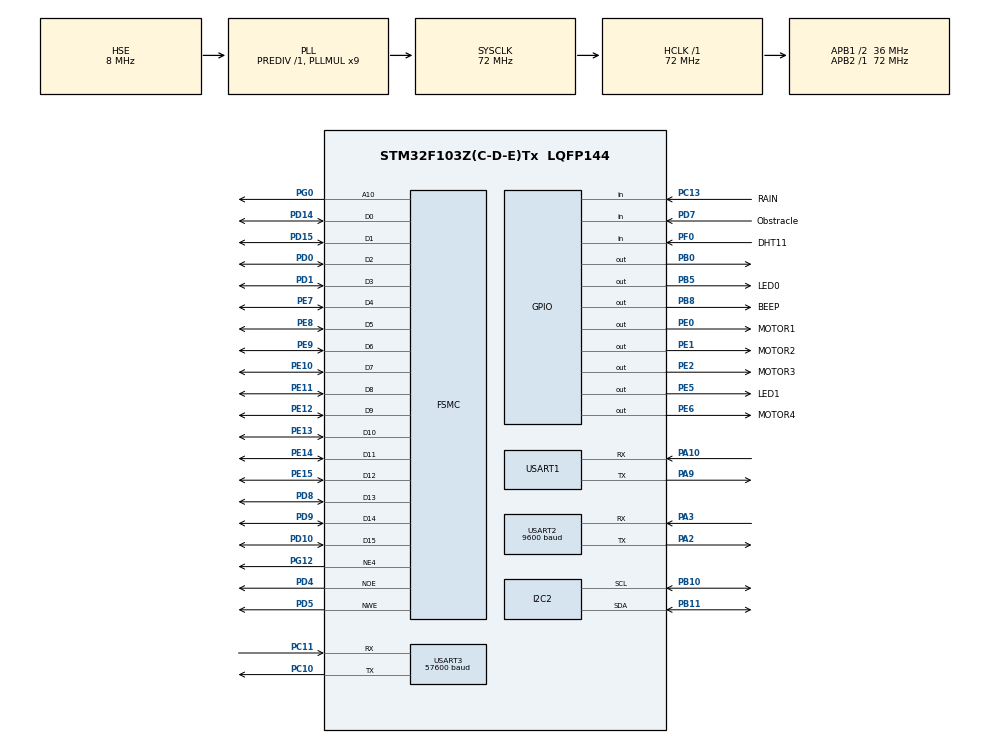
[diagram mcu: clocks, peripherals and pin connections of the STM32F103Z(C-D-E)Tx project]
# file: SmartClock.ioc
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FSMC.AddressSetupTime1=5
FSMC.BusTurnAroundDuration1=5
FSMC.DataSetupTime1=10
FSMC.ExtendedAddressSetupTime1=5
FSMC.ExtendedBusTurnAroundDuration1=5
FSMC.ExtendedDataSetupTime1=10
FSMC.ExtendedMode1=FSMC_EXTENDED_MODE_ENABLE
Mcu.Family=STM32F1
Mcu.Name=STM32F103Z(C-D-E)Tx
Mcu.Package=LQFP144
NVIC.PriorityGroup=NVIC_PRIORITYGROUP_4
NVIC.RTC_IRQn=true\:0\:0\:false\:false\:true\:true\:true\:true
NVIC.TIM2_IRQn=true\:0\:0\:false\:false\:true\:true\:true\:true
NVIC.USART1_IRQn=true\:0\:0\:false\:false\:true\:true\:true\:true
NVIC.USART2_IRQn=true\:0\:0\:false\:false\:true\:true\:true\:true
NVIC.USART3_IRQn=true\:0\:0\:false\:false\:true\:true\:true\:true
OSC_IN.Mode=HSE-External-Oscillator
OSC_IN.Signal=RCC_OSC_IN
OSC_OUT.Mode=HSE-External-Oscillator
OSC_OUT.Signal=RCC_OSC_OUT
PA10.Mode=Asynchronous
PA10.Signal=USART1_RX
PA13.Mode=Serial_Wire
PA13.Signal=SYS_JTMS-SWDIO
PA14.Mode=Serial_Wire
PA14.Signal=SYS_JTCK-SWCLK
PA2.Mode=Asynchronous
PA2.Signal=USART2_TX
PA3.Mode=Asynchronous
PA3.Signal=USART2_RX
PA9.Mode=Asynchronous
PA9.Signal=USART1_TX
PB0.GPIO_PuPd=GPIO_PULLUP
PB0.Signal=GPIO_Output
PB10.Mode=I2C
PB10.Signal=I2C2_SCL
PB11.Mode=I2C
PB11.Signal=I2C2_SDA
PB5.GPIO_Label=LED0
PB5.Signal=GPIO_Output
PB8.GPIO_Label=BEEP
PB8.Signal=GPIO_Output
PC10.Mode=Asynchronous
PC10.Signal=USART3_TX
PC11.Mode=Asynchronous
PC11.Signal=USART3_RX
PC13-TAMPER-RTC.GPIO_Label=RAIN
PC13-TAMPER-RTC.Signal=GPIO_Input
PC14-OSC32_IN.Mode=LSE-External-Oscillator
PC14-OSC32_IN.Signal=RCC_OSC32_IN
PC15-OSC32_OUT.Mode=LSE-External-Oscillator
PC15-OSC32_OUT.Signal=RCC_OSC32_OUT
PD0.Signal=FSMC_D2_DA2
PD1.Signal=FSMC_D3_DA3
PD10.Signal=FSMC_D15_DA15
PD14.Signal=FSMC_D0_DA0
PD15.Signal=FSMC_D1_DA1
PD4.Signal=FSMC_NOE
PD5.Signal=FSMC_NWE
PD7.GPIO_Label=Obstracle
PD7.Signal=GPIO_Input
PD8.Signal=FSMC_D13_DA13
PD9.Signal=FSMC_D14_DA14
PE0.GPIO_Label=MOTOR1
PE0.Signal=GPIO_Output
PE1.GPIO_Label=MOTOR2
PE1.Signal=GPIO_Output
PE10.Signal=FSMC_D7_DA7
PE11.Signal=FSMC_D8_DA8
PE12.Signal=FSMC_D9_DA9
PE13.Signal=FSMC_D10_DA10
PE14.Signal=FSMC_D11_DA11
PE15.Signal=FSMC_D12_DA12
PE2.GPIO_Label=MOTOR3
PE2.Signal=GPIO_Output
PE5.GPIO_Label=LED1
PE5.Signal=GPIO_Output
PE6.GPIO_Label=MOTOR4
PE6.Signal=GPIO_Output
PE7.Signal=FSMC_D4_DA4
PE8.Signal=FSMC_D5_DA5
PE9.Signal=FSMC_D6_DA6
PF0.GPIO_Label=DHT11
PF0.Signal=GPIO_Input
PG0.Signal=FSMC_A10
PG12.Mode=NorPsramChipSelect4_1
PG12.Signal=FSMC_NE4
ProjectManager.HeapSize=0x200
ProjectManager.StackSize=0x400
ProjectManager.TargetToolchain=MDK-ARM V5.32
RCC.AHBFreq_Value=72000000
RCC.APB1CLKDivider=RCC_HCLK_DIV2
RCC.APB1Freq_Value=36000000
RCC.APB1TimFreq_Value=72000000
RCC.APB2Freq_Value=72000000
RCC.APB2TimFreq_Value=72000000
RCC.HCLKFreq_Value=72000000
RCC.PLLMUL=RCC_PLL_MUL9
RCC.PLLSourceVirtual=RCC_PLLSOURCE_HSE
RCC.SYSCLKFreq_VALUE=72000000
RCC.SYSCLKSource=RCC_SYSCLKSOURCE_PLLCLK
RCC.USBFreq_Value=72000000
RTC.Date=13
RTC.Format=RTC_FORMAT_BIN
RTC.Month=RTC_MONTH_OCTOBER
RTC.WeekDay=RTC_WEEKDAY_THURSDAY
RTC.Year=22
SH.FSMC_A10.0=FSMC_A10,A10_1
SH.FSMC_D0_DA0.0=FSMC_D0,16b-d1
SH.FSMC_D10_DA10.0=FSMC_D10,16b-d1
SH.FSMC_D11_DA11.0=FSMC_D11,16b-d1
SH.FSMC_D12_DA12.0=FSMC_D12,16b-d1
SH.FSMC_D13_DA13.0=FSMC_D13,16b-d1
SH.FSMC_D14_DA14.0=FSMC_D14,16b-d1
SH.FSMC_D15_DA15.0=FSMC_D15,16b-d1
SH.FSMC_D1_DA1.0=FSMC_D1,16b-d1
SH.FSMC_D2_DA2.0=FSMC_D2,16b-d1
SH.FSMC_D3_DA3.0=FSMC_D3,16b-d1
SH.FSMC_D4_DA4.0=FSMC_D4,16b-d1
SH.FSMC_D5_DA5.0=FSMC_D5,16b-d1
SH.FSMC_D6_DA6.0=FSMC_D6,16b-d1
SH.FSMC_D7_DA7.0=FSMC_D7,16b-d1
SH.FSMC_D8_DA8.0=FSMC_D8,16b-d1
SH.FSMC_D9_DA9.0=FSMC_D9,16b-d1
SH.FSMC_NOE.0=FSMC_NOE,Lcd1
SH.FSMC_NWE.0=FSMC_NWE,Lcd1
TIM2.AutoReloadPreload=TIM_AUTORELOAD_PRELOAD_ENABLE
TIM2.Period=10000-1
TIM2.Prescaler=7200-1
USART1.VirtualMode=VM_ASYNC
USART2.BaudRate=9600
USART2.VirtualMode=VM_ASYNC
USART3.BaudRate=57600
USART3.VirtualMode=VM_ASYNC
VP_RTC_No_RTC_Output.Mode=RTC_OUT_NO
VP_RTC_VS_RTC_Activate.Mode=RTC_Enabled
VP_RTC_VS_RTC_Calendar.Mode=RTC_Calendar
VP_TIM2_VS_ClockSourceINT.Mode=Internal
board=custom

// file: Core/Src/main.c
/* USER CODE BEGIN Header */
/**
 ******************************************************************************
 * @file           : main.c
 * @brief          : Main program body
 ******************************************************************************
 * @attention
 *
 * Copyright (c) 2022 STMicroelectronics.
 * All rights reserved.
 *
 * This software is licensed under terms that can be found in the LICENSE file
 * in the root directory of this software component.
 * If no LICENSE file comes with this software, it is provided AS-IS.
 *
 ******************************************************************************
 */
/* USER CODE END Header */
#include "main.h"
#include "i2c.h"
#include "rtc.h"
#include "tim.h"
#include "usart.h"
#include "gpio.h"
#include "fsmc.h"

/* USER CODE BEGIN Includes */
#include "time.h"
#include "display.h"
#include "dht11.h"
#include <stdio.h>
#include "user_uart.h"
#include "command.h"
#include "lock.h"
#include "motor.h"
#include "rain.h"
#include "lcd.h"
/* USER CODE END Includes */

/* USER CODE BEGIN PV */
_Bool isAlarmOn = 0;
float ftemperature;
float fhumidity;
uint8_t *ptemperature;
uint8_t *phumidity;
uint8_t SendStr[20] = {0};
/* USER CODE END PV */

void SystemClock_Config(void);

/* USER CODE BEGIN 0 */
int fputc(int ch, FILE *f)
{
  uint8_t temp[1] = {ch};
  HAL_UART_Transmit(&huart1, temp, 1, 2); // huart1�??????????要根据你的配置修�??????????
  return ch;
}
/* USER CODE END 0 */

int main(void)
{

  /* MCU Configuration--------------------------------------------------------*/

  /* Reset of all peripherals, Initializes the Flash interface and the Systick. */
  HAL_Init();

  /* Configure the system clock */
  SystemClock_Config();

  /* Initialize all configured peripherals */
  MX_GPIO_Init();
  MX_USART1_UART_Init();
  MX_USART2_UART_Init();
  MX_TIM2_Init();
  MX_USART3_UART_Init();
  MX_FSMC_Init();
  MX_I2C2_Init();
  MX_RTC_Init();
  /* USER CODE BEGIN 2 */
  u8g2Init(&u8g2);

  u8g2_ClearBuffer(&u8g2);
  u8g2_SetFontMode(&u8g2, 1);
  u8g2_SetFontDirection(&u8g2, 0);
  u8g2_SetFont(&u8g2, u8g2_font_freedoomr10_tu);
  u8g2_DrawStr(&u8g2, 0, 13, "TOUCH SCANNER");
  u8g2_DrawStr(&u8g2, 0, 25, "TO UNLOCK");
  u8g2_SendBuffer(&u8g2);
  LCD_Init();
  POINT_COLOR=BLACK;
  printf("startsent");
  GenerateString();
  RefreshScreen();
  if(DHT11_Init())
	  printf("DHT11 Init Succeed\r\n");
  else
	  printf("DHT11 Init Failed\r\n");
  if (!as608_init())
  {
    printf("AS608 Init Succeed\r\n");
  }
  else
  {
    printf("AS608 Init Failed\r\n");
  }
  HAL_GPIO_TogglePin(LED0_GPIO_Port, LED0_Pin);
  HAL_TIM_Base_Start_IT(&htim2);
  HAL_UART_Transmit(&huart2, "start", 10, 100);
  HAL_UART_Receive_IT(&huart1, (uint8_t *)UART1_temp, Rec_Long);
  HAL_UART_Receive_IT(&huart2, (uint8_t *)UART2_temp, Rec_Long);
  /* USER CODE END 2 */

  /* Infinite loop */
  /* USER CODE BEGIN WHILE */
  DHT11_Read_FloatData(&temperature, &humidity);
  LCDInitDisplay();
  //while (1)
  //{
  //  Motor_Forward_Ration();
  //}
  while (1)
  {
    printf("loop\n");
    if (LOCK)
    {
      CHECK_FR();
    }
    HAL_Delay(700);
    /* USER CODE END WHILE */

    /* USER CODE BEGIN 3 */
    if (RAIN && !CURTAIN)
      CloseCurtain();
    if (!RAIN && CURTAIN)
      OpenCurtain();
    HAL_UART_Transmit(&huart1, UART1_Rx_Buf, UART1_Rx_cnt, 0xff);
    DHT11_Read_FloatData(&temperature, &humidity);
    if (UART1_Rx_flg)
      ParseCommand(&huart1);
    if (UART2_Rx_flg)
      ParseCommand(&huart2);
	HAL_RTC_GetTime(&hrtc,&tempTime,FORMAT_BIN);
    if (!(tempTime.Seconds % 15))
    {
      /*
      ftemperature = (float)(temperature>>8) + (temperature & 0xff)/100.0;
      fhumidity = (float)(humidity>>8) + (humidity & 0xff)/100.0;
      ptemperature = (uint8_t *)&ftemperature;
      phumidity = (uint8_t *)&fhumidity;
      sprintf(SendStr, "\x80%c%c%c%c\x81%c%c%c%c", ptemperature[0], ptemperature[1], ptemperature[2], ptemperature[3], phumidity[0], phumidity[1], phumidity[2], phumidity[3]);
      HAL_UART_Transmit(&huart2, SendStr, 15, 0xff);
      */
      sprintf(SendStr, "SETTEMP %f\n", temperature);
      HAL_UART_Transmit(&huart2, SendStr, 20, 0xff);
      sprintf(SendStr, "SETHUMI %f\n", humidity);
      HAL_UART_Transmit(&huart2, SendStr, 20, 0xff);
    }
    HAL_UART_Transmit(&huart1, UART1_Rx_Buf, UART1_Rx_cnt, 0xff);
  }
  /* USER CODE END 3 */
}

void SystemClock_Config(void)
{
  RCC_OscInitTypeDef RCC_OscInitStruct = {0};
  RCC_ClkInitTypeDef RCC_ClkInitStruct = {0};
  RCC_PeriphCLKInitTypeDef PeriphClkInit = {0};

  /** Initializes the RCC Oscillators according to the specified parameters
  * in the RCC_OscInitTypeDef structure.
  */
  RCC_OscInitStruct.OscillatorType = RCC_OSCILLATORTYPE_LSI|RCC_OSCILLATORTYPE_HSE;
  RCC_OscInitStruct.HSEState = RCC_HSE_ON;
  RCC_OscInitStruct.HSEPredivValue = RCC_HSE_PREDIV_DIV1;
  RCC_OscInitStruct.HSIState = RCC_HSI_ON;
  RCC_OscInitStruct.LSIState = RCC_LSI_ON;
  RCC_OscInitStruct.PLL.PLLState = RCC_PLL_ON;
  RCC_OscInitStruct.PLL.PLLSource = RCC_PLLSOURCE_HSE;
  RCC_OscInitStruct.PLL.PLLMUL = RCC_PLL_MUL9;
  if (HAL_RCC_OscConfig(&RCC_OscInitStruct) != HAL_OK)
  {
    Error_Handler();
  }

  /** Initializes the CPU, AHB and APB buses clocks
  */
  RCC_ClkInitStruct.ClockType = RCC_CLOCKTYPE_HCLK|RCC_CLOCKTYPE_SYSCLK
                              |RCC_CLOCKTYPE_PCLK1|RCC_CLOCKTYPE_PCLK2;
  RCC_ClkInitStruct.SYSCLKSource = RCC_SYSCLKSOURCE_PLLCLK;
  RCC_ClkInitStruct.AHBCLKDivider = RCC_SYSCLK_DIV1;
  RCC_ClkInitStruct.APB1CLKDivider = RCC_HCLK_DIV2;
  RCC_ClkInitStruct.APB2CLKDivider = RCC_HCLK_DIV1;

  if (HAL_RCC_ClockConfig(&RCC_ClkInitStruct, FLASH_LATENCY_2) != HAL_OK)
  {
    Error_Handler();
  }
  PeriphClkInit.PeriphClockSelection = RCC_PERIPHCLK_RTC;
  PeriphClkInit.RTCClockSelection = RCC_RTCCLKSOURCE_LSI;
  if (HAL_RCCEx_PeriphCLKConfig(&PeriphClkInit) != HAL_OK)
  {
    Error_Handler();
  }
}

/* USER CODE BEGIN 4 */
void HAL_TIM_PeriodElapsedCallback(TIM_HandleTypeDef *htim)
{
  if (htim->Instance == htim2.Instance)
  {
    GenerateString();
    RefreshScreen();
    RefreshLCD();
    HAL_GPIO_TogglePin(LED0_GPIO_Port, LED0_Pin);
  }
}

/* USER CODE END 4 */

void Error_Handler(void)
{
  __disable_irq();
  while (1)
  {
  }
}
